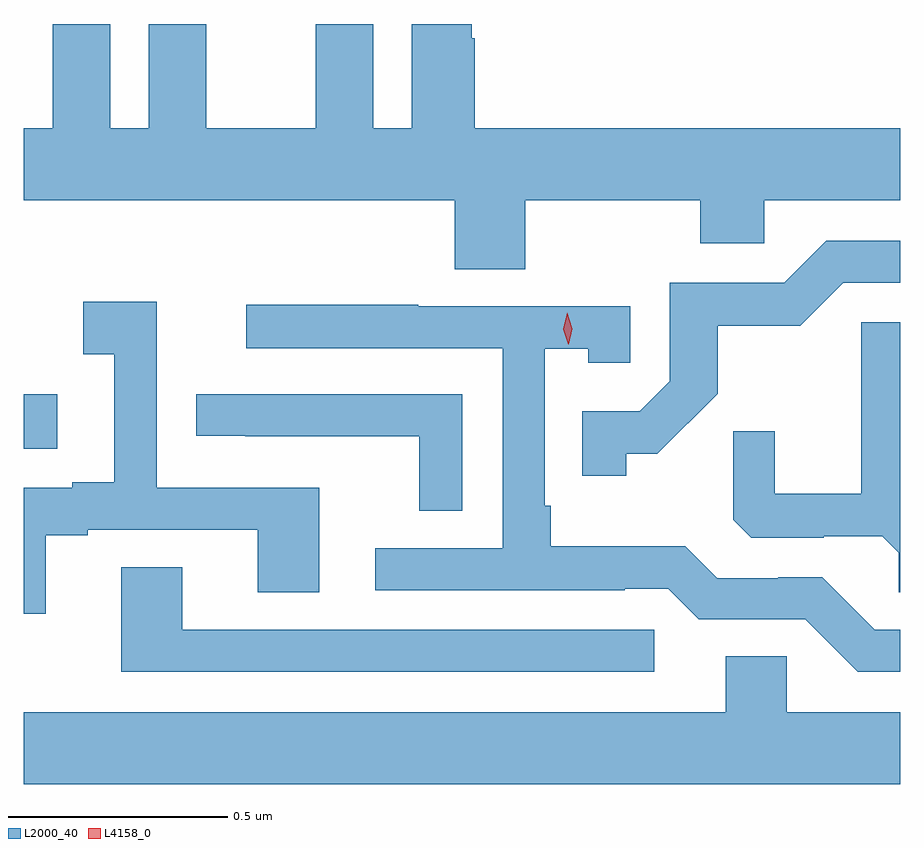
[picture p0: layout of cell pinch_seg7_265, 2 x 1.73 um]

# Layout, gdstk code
import gdstk
lib = gdstk.Library(unit=1e-6, precision=1e-09)
def R(c, l, rs):  # rectangles x0, y0, x1, y1
    for r in rs: c.add(gdstk.rectangle(r[:2], r[2:], *l))
def P(c, l, *ps):  # polygons
    for p in ps: c.add(gdstk.Polygon(p, *l))
L2000_40 = (2000, 40)
L4158_0 = (4158, 0)

pinch_seg7_265 = lib.new_cell('pinch_seg7_265')
R(pinch_seg7_265, L2000_40, [(791.411,1024.025,791.488,1024.149)])
P(pinch_seg7_265, L2000_40, [(792.555,1024.592),(792.955,1024.592),(792.955,1024.494),(793.101,1024.494),(793.101,1024.592),(793.411,1024.592),(793.411,1024.756),(792.44,1024.756),(792.44,1024.961),(792.433,1024.961),(792.433,1024.994),(792.296,1024.994),(792.296,1024.756),(792.208,1024.756),(792.208,1024.994),(792.077,1024.994),(792.077,1024.756),(791.827,1024.756),(791.827,1024.994),(791.696,1024.994),(791.696,1024.756),(791.608,1024.756),(791.608,1024.994),(791.477,1024.994),(791.477,1024.756),(791.411,1024.756),(791.411,1024.592),(792.395,1024.592),(792.395,1024.435),(792.555,1024.435)],
  [(792.786,1024.013),(792.856,1024.013),(792.994,1024.15),(792.994,1024.305),(793.183,1024.305),(793.281,1024.404),(793.411,1024.404),(793.411,1024.5),(793.242,1024.5),(793.146,1024.404),(792.885,1024.404),(792.885,1024.179),(792.816,1024.11),(792.685,1024.11),(792.685,1023.963),(792.786,1023.963)],
  [(791.461,1023.828),(791.557,1023.828),(791.557,1023.84),(791.945,1023.84),(791.945,1023.697),(792.085,1023.697),(792.085,1023.936),(791.715,1023.936),(791.715,1024.36),(791.547,1024.36),(791.547,1024.24),(791.618,1024.24),(791.618,1023.949),(791.522,1023.949),(791.522,1023.936),(791.411,1023.936),(791.411,1023.648),(791.461,1023.648)],
  [(793.411,1023.612),(793.353,1023.612),(793.233,1023.732),(793.132,1023.732),(793.132,1023.729),(792.993,1023.729),(792.92,1023.802),(792.613,1023.802),(792.613,1023.895),(792.6,1023.895),(792.6,1024.253),(792.699,1024.253),(792.699,1024.221),(792.795,1024.221),(792.795,1024.35),(792.311,1024.35),(792.311,1024.353),(791.919,1024.353),(791.919,1024.254),(792.504,1024.254),(792.504,1023.798),(792.213,1023.798),(792.213,1023.702),(792.782,1023.702),(792.782,1023.705),(792.882,1023.705),(792.951,1023.636),(793.194,1023.636),(793.314,1023.516),(793.411,1023.516)],
  [(793.411,1024.314),(793.322,1024.314),(793.322,1023.922),(793.124,1023.922),(793.124,1024.065),(793.03,1024.065),(793.03,1023.863),(793.071,1023.822),(793.236,1023.822),(793.236,1023.825),(793.37,1023.825),(793.407,1023.788),(793.407,1023.697),(793.411,1023.697)],
  [(792.411,1024.149),(791.805,1024.149),(791.805,1024.054),(791.917,1024.054),(791.917,1024.053),(792.313,1024.053),(792.313,1023.883),(792.411,1023.883)],
  [(792.85,1023.612),(791.773,1023.612),(791.773,1023.755),(791.633,1023.755),(791.633,1023.516),(792.85,1023.516)],
  [(793.411,1023.424),(793.152,1023.424),(793.152,1023.551),(793.013,1023.551),(793.013,1023.424),(791.411,1023.424),(791.411,1023.26),(793.411,1023.26)])
P(pinch_seg7_265, L4158_0, [(792.653,1024.263),(792.653,1024.263),(792.642,1024.298),(792.651,1024.335),(792.651,1024.335),(792.651,1024.335),(792.662,1024.299),(792.654,1024.263)])

lib.write_gds('pinch_seg7_265.gds')
